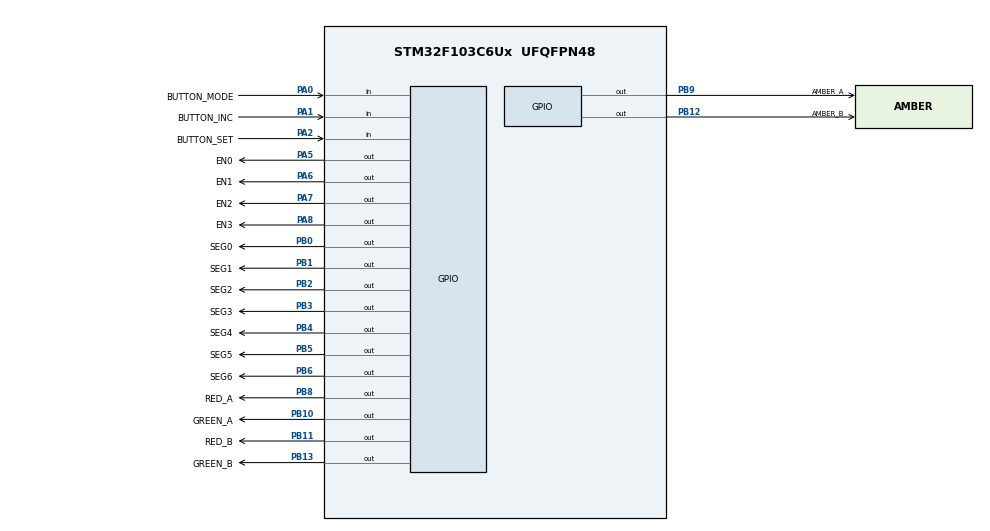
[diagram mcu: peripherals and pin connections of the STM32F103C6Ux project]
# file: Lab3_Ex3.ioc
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Mcu.Family=STM32F1
Mcu.Name=STM32F103C6Ux
Mcu.Package=UFQFPN48
NVIC.PriorityGroup=NVIC_PRIORITYGROUP_4
NVIC.TIM2_IRQn=true\:0\:0\:false\:false\:true\:true\:true
PA0-WKUP.GPIO_Label=BUTTON_MODE
PA0-WKUP.Signal=GPIO_Input
PA1.GPIO_Label=BUTTON_INC
PA1.Signal=GPIO_Input
PA2.GPIO_Label=BUTTON_SET
PA2.Signal=GPIO_Input
PA5.GPIO_Label=EN0
PA5.PinState=GPIO_PIN_SET
PA5.Signal=GPIO_Output
PA6.GPIO_Label=EN1
PA6.PinState=GPIO_PIN_SET
PA6.Signal=GPIO_Output
PA7.GPIO_Label=EN2
PA7.PinState=GPIO_PIN_SET
PA7.Signal=GPIO_Output
PA8.GPIO_Label=EN3
PA8.PinState=GPIO_PIN_SET
PA8.Signal=GPIO_Output
PB0.GPIO_Label=SEG0
PB0.PinState=GPIO_PIN_SET
PB0.Signal=GPIO_Output
PB1.GPIO_Label=SEG1
PB1.PinState=GPIO_PIN_SET
PB1.Signal=GPIO_Output
PB10.GPIO_Label=GREEN_A
PB10.PinState=GPIO_PIN_SET
PB10.Signal=GPIO_Output
PB11.GPIO_Label=RED_B
PB11.PinState=GPIO_PIN_SET
PB11.Signal=GPIO_Output
PB12.GPIO_Label=AMBER_B
PB12.PinState=GPIO_PIN_SET
PB12.Signal=GPIO_Output
PB13.GPIO_Label=GREEN_B
PB13.PinState=GPIO_PIN_SET
PB13.Signal=GPIO_Output
PB2.GPIO_Label=SEG2
PB2.PinState=GPIO_PIN_SET
PB2.Signal=GPIO_Output
PB3.GPIO_Label=SEG3
PB3.PinState=GPIO_PIN_SET
PB3.Signal=GPIO_Output
PB4.GPIO_Label=SEG4
PB4.PinState=GPIO_PIN_SET
PB4.Signal=GPIO_Output
PB5.GPIO_Label=SEG5
PB5.PinState=GPIO_PIN_SET
PB5.Signal=GPIO_Output
PB6.GPIO_Label=SEG6
PB6.PinState=GPIO_PIN_SET
PB6.Signal=GPIO_Output
PB8.GPIO_Label=RED_A
PB8.PinState=GPIO_PIN_SET
PB8.Signal=GPIO_Output
PB9.GPIO_Label=AMBER_A
PB9.PinState=GPIO_PIN_SET
PB9.Signal=GPIO_Output
ProjectManager.HeapSize=0x200
ProjectManager.StackSize=0x400
ProjectManager.TargetToolchain=STM32CubeIDE
RCC.APB1Freq_Value=8000000
RCC.APB2Freq_Value=8000000
TIM2.Period=9
TIM2.Prescaler=7999
VP_SYS_VS_ND.Mode=No_Debug
VP_TIM2_VS_ClockSourceINT.Mode=Internal
board=custom

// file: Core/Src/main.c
/* USER CODE BEGIN Header */
/**
  ******************************************************************************
  * @file           : main.c
  * @brief          : Main program body
  ******************************************************************************
  * @attention
  *
  * <h2><center>&copy; Copyright (c) 2026 STMicroelectronics.
  * All rights reserved.</center></h2>
  *
  * This software component is licensed by ST under BSD 3-Clause license,
  * the "License"; You may not use this file except in compliance with the
  * License. You may obtain a copy of the License at:
  *                        opensource.org/licenses/BSD-3-Clause
  *
  ******************************************************************************
  */
/* USER CODE END Header */
#include "main.h"

/* USER CODE BEGIN Includes */
#include "input_reading.h"
#include "output_display.h"
/* USER CODE END Includes */

TIM_HandleTypeDef htim2;

/* USER CODE BEGIN PV */
static volatile uint8_t current_mode = 1U;
static uint8_t red_duration = 5U;    /* Giá trị đã lưu */
static uint8_t red_edit_value = 5U;  /* Giá trị đang chỉnh */
static uint8_t amber_duration = 2U;    /* Giá trị vàng đã lưu */
static uint8_t amber_edit_value = 2U;  /* Giá trị vàng đang chỉnh */
static uint8_t green_duration = 3U;    /* Giá trị xanh đã lưu */
static uint8_t green_edit_value = 3U;  /* Giá trị xanh đang chỉnh */
static uint16_t traffic_cycle_second = 0U;
static uint32_t traffic_last_ms = 0U;
/* USER CODE END PV */

void SystemClock_Config(void);
static void MX_GPIO_Init(void);
static void MX_TIM2_Init(void);

/* USER CODE BEGIN 0 */
static void show_traffic(void)
{
  uint16_t green = green_duration;
  uint16_t amber = amber_duration;
  uint16_t red = red_duration;
  uint16_t second = traffic_cycle_second;
  uint16_t total = green + amber + red;

  uint16_t pin_a;
  uint16_t pin_b;
  uint8_t time_a;
  uint8_t time_b;

  /* Trang thai va thoi gian con lai cua duong A. */
  if (second < green)
  {
    pin_a = GREEN_A_Pin;
    time_a = (uint8_t)(green - second);
  }
  else if (second < green + amber)
  {
    pin_a = AMBER_A_Pin;
    time_a = (uint8_t)(green + amber - second);
  }
  else
  {
    pin_a = RED_A_Pin;
    time_a = (uint8_t)(total - second);
  }

  /* Trang thai va thoi gian con lai cua duong B. */
  if (second < red)
  {
    pin_b = RED_B_Pin;
    time_b = (uint8_t)(red - second);
  }
  else if (second < red + green)
  {
    pin_b = GREEN_B_Pin;
    time_b = (uint8_t)(red + green - second);
  }
  else
  {
    pin_b = AMBER_B_Pin;
    time_b = (uint8_t)(total - second);
  }

  /* Cac LED mau active-low: tat het, sau do bat dung hai mau. */
  HAL_GPIO_WritePin(GPIOB,
                    RED_A_Pin | AMBER_A_Pin | GREEN_A_Pin |
                    RED_B_Pin | AMBER_B_Pin | GREEN_B_Pin,
                    GPIO_PIN_SET);
  HAL_GPIO_WritePin(GPIOB, pin_a | pin_b, GPIO_PIN_RESET);

  output_display_set_values(time_a, time_b);
}

static void update_traffic(void)
{
  if (current_mode != 1U) return;

  uint32_t now = HAL_GetTick();
  uint16_t cycle_length =
      (uint16_t)green_duration + amber_duration + red_duration;

  while ((uint32_t)(now - traffic_last_ms) >= 1000U)
  {
    traffic_last_ms += 1000U;
    traffic_cycle_second++;

    if (traffic_cycle_second >= cycle_length)
    {
      traffic_cycle_second = 0U;
    }

    show_traffic();
  }
}
static void process_mode_button(void)
{
  static uint8_t waiting_for_release = 0U;

  if (waiting_for_release == 0U)
  {
    if (button_is_pressed(BUTTON_MODE_INDEX))
    {
      current_mode = (current_mode >= 4U) ? 1U : current_mode + 1U;

      uint8_t value = 0U;
      if (current_mode == 2U)
      {
        red_edit_value = red_duration;
        value = red_edit_value;
      }
      if (current_mode == 3U)
      {
        amber_edit_value = amber_duration;
        value = amber_edit_value;
      }
      if (current_mode == 4U)
      {
        green_edit_value = green_duration;
        value = green_edit_value;
      }

      output_display_set_values(current_mode, value);

      HAL_GPIO_WritePin(GPIOB,
                        RED_A_Pin | RED_B_Pin |
                        AMBER_A_Pin | AMBER_B_Pin |
                        GREEN_A_Pin | GREEN_B_Pin,
                        GPIO_PIN_SET);
      if (current_mode == 1U)
      {
        traffic_cycle_second = 0U;
        traffic_last_ms = HAL_GetTick();
        show_traffic();
      }

      waiting_for_release = 1U;
    }
  }
  else if (!button_is_pressed(BUTTON_MODE_INDEX))
  {
    waiting_for_release = 0U;
  }
}
static void process_red_buttons(void)
{
  static uint8_t inc_was_pressed = 0U;
  static uint8_t set_was_pressed = 0U;

  uint8_t inc_pressed = button_is_pressed(BUTTON_INC_INDEX);
  uint8_t set_pressed = button_is_pressed(BUTTON_SET_INDEX);

  if (current_mode == 2U)
  {
    if (inc_pressed && !inc_was_pressed)
    {
      red_edit_value = (red_edit_value >= 99U)
                       ? 1U : red_edit_value + 1U;
      output_display_set_values(2U, red_edit_value);
    }

    if (set_pressed && !set_was_pressed)
    {
      red_duration = red_edit_value;
    }
  }

  inc_was_pressed = inc_pressed;
  set_was_pressed = set_pressed;
}
static void process_amber_buttons(void)
{
  static uint8_t inc_was_pressed = 0U;
  static uint8_t set_was_pressed = 0U;

  uint8_t inc_pressed = button_is_pressed(BUTTON_INC_INDEX);
  uint8_t set_pressed = button_is_pressed(BUTTON_SET_INDEX);

  if (current_mode == 3U)
  {
    if (inc_pressed && !inc_was_pressed)
    {
      amber_edit_value = (amber_edit_value >= 99U)
                         ? 1U : amber_edit_value + 1U;
      output_display_set_values(3U, amber_edit_value);
    }

    if (set_pressed && !set_was_pressed)
    {
      amber_duration = amber_edit_value;
    }
  }

  inc_was_pressed = inc_pressed;
  set_was_pressed = set_pressed;
}
static void process_green_buttons(void)
{
  static uint8_t inc_was_pressed = 0U;
  static uint8_t set_was_pressed = 0U;

  uint8_t inc_pressed = button_is_pressed(BUTTON_INC_INDEX);
  uint8_t set_pressed = button_is_pressed(BUTTON_SET_INDEX);

  if (current_mode == 4U)
  {
    if (inc_pressed && !inc_was_pressed)
    {
      green_edit_value = (green_edit_value >= 99U)
                         ? 1U : green_edit_value + 1U;
      output_display_set_values(4U, green_edit_value);
    }

    if (set_pressed && !set_was_pressed)
    {
      green_duration = green_edit_value;
    }
  }

  inc_was_pressed = inc_pressed;
  set_was_pressed = set_pressed;
}
/* USER CODE END 0 */

int main(void)
{

  /* MCU Configuration--------------------------------------------------------*/

  /* Reset of all peripherals, Initializes the Flash interface and the Systick. */
  HAL_Init();

  /* Configure the system clock */
  SystemClock_Config();

  /* Initialize all configured peripherals */
  MX_GPIO_Init();
  MX_TIM2_Init();
  /* USER CODE BEGIN 2 */
  traffic_last_ms = HAL_GetTick();
  show_traffic();
  if (HAL_TIM_Base_Start_IT(&htim2) != HAL_OK)
  {
    Error_Handler();
  }
  /* USER CODE END 2 */

  /* Infinite loop */
  while (1)
  {
    /* USER CODE BEGIN 3 */
    process_mode_button();
    process_red_buttons();
    process_amber_buttons();
    process_green_buttons();
    update_traffic();
    output_display_scan();
  }
  /* USER CODE END 3 */
}

void SystemClock_Config(void)
{
  RCC_OscInitTypeDef RCC_OscInitStruct = {0};
  RCC_ClkInitTypeDef RCC_ClkInitStruct = {0};

  /** Initializes the RCC Oscillators according to the specified parameters
  * in the RCC_OscInitTypeDef structure.
  */
  RCC_OscInitStruct.OscillatorType = RCC_OSCILLATORTYPE_HSI;
  RCC_OscInitStruct.HSIState = RCC_HSI_ON;
  RCC_OscInitStruct.HSICalibrationValue = RCC_HSICALIBRATION_DEFAULT;
  RCC_OscInitStruct.PLL.PLLState = RCC_PLL_NONE;
  if (HAL_RCC_OscConfig(&RCC_OscInitStruct) != HAL_OK)
  {
    Error_Handler();
  }
  /** Initializes the CPU, AHB and APB buses clocks
  */
  RCC_ClkInitStruct.ClockType = RCC_CLOCKTYPE_HCLK|RCC_CLOCKTYPE_SYSCLK
                              |RCC_CLOCKTYPE_PCLK1|RCC_CLOCKTYPE_PCLK2;
  RCC_ClkInitStruct.SYSCLKSource = RCC_SYSCLKSOURCE_HSI;
  RCC_ClkInitStruct.AHBCLKDivider = RCC_SYSCLK_DIV1;
  RCC_ClkInitStruct.APB1CLKDivider = RCC_HCLK_DIV1;
  RCC_ClkInitStruct.APB2CLKDivider = RCC_HCLK_DIV1;

  if (HAL_RCC_ClockConfig(&RCC_ClkInitStruct, FLASH_LATENCY_0) != HAL_OK)
  {
    Error_Handler();
  }
}

static void MX_TIM2_Init(void)
{

  TIM_ClockConfigTypeDef sClockSourceConfig = {0};
  TIM_MasterConfigTypeDef sMasterConfig = {0};

  htim2.Instance = TIM2;
  htim2.Init.Prescaler = 7999;
  htim2.Init.CounterMode = TIM_COUNTERMODE_UP;
  htim2.Init.Period = 9;
  htim2.Init.ClockDivision = TIM_CLOCKDIVISION_DIV1;
  htim2.Init.AutoReloadPreload = TIM_AUTORELOAD_PRELOAD_DISABLE;
  if (HAL_TIM_Base_Init(&htim2) != HAL_OK)
  {
    Error_Handler();
  }
  sClockSourceConfig.ClockSource = TIM_CLOCKSOURCE_INTERNAL;
  if (HAL_TIM_ConfigClockSource(&htim2, &sClockSourceConfig) != HAL_OK)
  {
    Error_Handler();
  }
  sMasterConfig.MasterOutputTrigger = TIM_TRGO_RESET;
  sMasterConfig.MasterSlaveMode = TIM_MASTERSLAVEMODE_DISABLE;
  if (HAL_TIMEx_MasterConfigSynchronization(&htim2, &sMasterConfig) != HAL_OK)
  {
    Error_Handler();
  }

}

static void MX_GPIO_Init(void)
{
  GPIO_InitTypeDef GPIO_InitStruct = {0};

  /* GPIO Ports Clock Enable */
  __HAL_RCC_GPIOA_CLK_ENABLE();
  __HAL_RCC_GPIOB_CLK_ENABLE();

  /*Configure GPIO pin Output Level */
  HAL_GPIO_WritePin(GPIOA, EN0_Pin|EN1_Pin|EN2_Pin|EN3_Pin, GPIO_PIN_SET);

  /*Configure GPIO pin Output Level */
  HAL_GPIO_WritePin(GPIOB, SEG0_Pin|SEG1_Pin|SEG2_Pin|GREEN_A_Pin
                          |RED_B_Pin|AMBER_B_Pin|GREEN_B_Pin|SEG3_Pin
                          |SEG4_Pin|SEG5_Pin|SEG6_Pin|RED_A_Pin
                          |AMBER_A_Pin, GPIO_PIN_SET);

  /*Configure GPIO pins : BUTTON_MODE_Pin BUTTON_INC_Pin BUTTON_SET_Pin */
  GPIO_InitStruct.Pin = BUTTON_MODE_Pin|BUTTON_INC_Pin|BUTTON_SET_Pin;
  GPIO_InitStruct.Mode = GPIO_MODE_INPUT;
  GPIO_InitStruct.Pull = GPIO_NOPULL;
  HAL_GPIO_Init(GPIOA, &GPIO_InitStruct);

  /*Configure GPIO pins : EN0_Pin EN1_Pin EN2_Pin EN3_Pin */
  GPIO_InitStruct.Pin = EN0_Pin|EN1_Pin|EN2_Pin|EN3_Pin;
  GPIO_InitStruct.Mode = GPIO_MODE_OUTPUT_PP;
  GPIO_InitStruct.Pull = GPIO_NOPULL;
  GPIO_InitStruct.Speed = GPIO_SPEED_FREQ_LOW;
  HAL_GPIO_Init(GPIOA, &GPIO_InitStruct);

  /*Configure GPIO pins : SEG0_Pin SEG1_Pin SEG2_Pin GREEN_A_Pin
                           RED_B_Pin AMBER_B_Pin GREEN_B_Pin SEG3_Pin
                           SEG4_Pin SEG5_Pin SEG6_Pin RED_A_Pin
                           AMBER_A_Pin */
  GPIO_InitStruct.Pin = SEG0_Pin|SEG1_Pin|SEG2_Pin|GREEN_A_Pin
                          |RED_B_Pin|AMBER_B_Pin|GREEN_B_Pin|SEG3_Pin
                          |SEG4_Pin|SEG5_Pin|SEG6_Pin|RED_A_Pin
                          |AMBER_A_Pin;
  GPIO_InitStruct.Mode = GPIO_MODE_OUTPUT_PP;
  GPIO_InitStruct.Pull = GPIO_NOPULL;
  GPIO_InitStruct.Speed = GPIO_SPEED_FREQ_LOW;
  HAL_GPIO_Init(GPIOB, &GPIO_InitStruct);

}

/* USER CODE BEGIN 4 */
void HAL_TIM_PeriodElapsedCallback(TIM_HandleTypeDef *htim)
{
  if (htim->Instance == TIM2)
  {
    static uint32_t elapsed_ms = 0U;

    button_reading_10ms();

    /* PSC = 7999, clock = 8 MHz: moi count tuong ung 1 ms. */
    elapsed_ms += htim->Init.Period + 1U;

    if (elapsed_ms >= 250U)
    {
      elapsed_ms -= 250U;

      switch (current_mode)
      {
        case 2U:
          HAL_GPIO_TogglePin(GPIOB, RED_A_Pin | RED_B_Pin);
          break;

        case 3U:
          HAL_GPIO_TogglePin(GPIOB, AMBER_A_Pin | AMBER_B_Pin);
          break;

        case 4U:
          HAL_GPIO_TogglePin(GPIOB, GREEN_A_Pin | GREEN_B_Pin);
          break;

        default:
          break;
      }
    }
  }
}
/* USER CODE END 4 */

void Error_Handler(void)
{
  __disable_irq();
  while (1)
  {
  }
}

/************************ (C) COPYRIGHT STMicroelectronics *****END OF FILE****/
